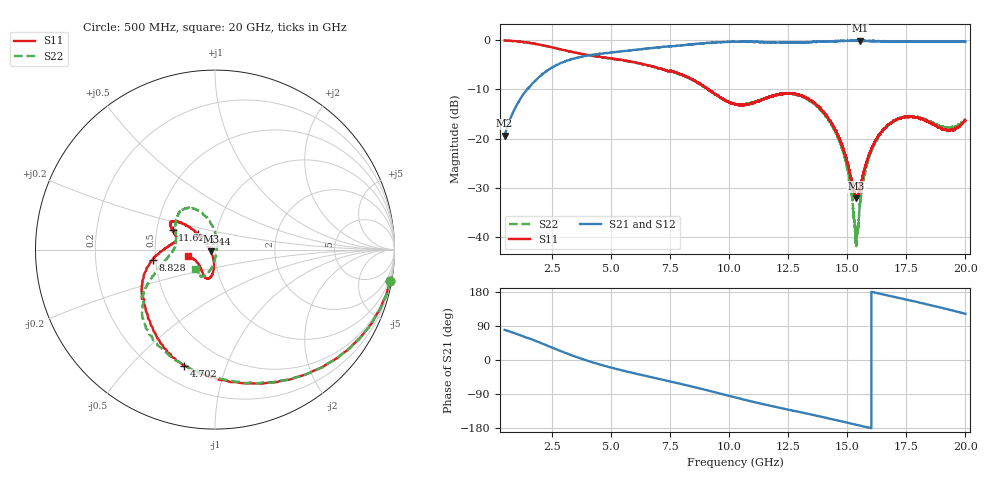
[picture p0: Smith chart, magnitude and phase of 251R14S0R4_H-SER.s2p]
! Created Tue May  5 12:29:12 2020
# mhz S ma R 50
! 2 Port Network Data from SP1.SP block
! freq  magS11  angS11  magS21  angS21  magS12  angS12  magS22  angS22
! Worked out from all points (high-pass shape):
!   19501 points, 500 MHz to 20 GHz, reference 50 ohm
!   highest |S21| = -0.11 dB at 15.55 GHz (marker M1); lowest = -19.4 dB at 500 MHz (marker M2)
!   |S21| within 3 dB of the highest: 4.039 GHz to 4.04175 GHz (2.75 MHz wide, 0.0681 % of centre); 4.043 GHz to end of sweep (the widest 2 of 3)
!   lowest |S11| = -32.1 dB at 15.38 GHz (marker M3), VSWR 1.05, Z = 47.8 - j0.933 ohm
!   |S11| at or under -10 dB: 9.123652 GHz to 9.1248 GHz (1.148 MHz wide, 0.0126 % of centre); 9.125 GHz to end of sweep
!   |S22| runs from -41.8 to -0.1 dB; largest |S21 - S12| = 0.0086
!   S11 on the Smith chart (normalised r, x): 500 MHz: 0, -11; 4.702 GHz: 0.31, -0.72; 8.828 GHz: 0.48, -0.06; 11.62 GHz: 0.61, +0.14; 14.44 GHz: 0.81, +0.14; 20 GHz: 0.74, -0.06
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500  0.9931 -10.2  0.1075 79.6  0.1073 79.5  0.9932 -10.2
1206  0.9633 -25.4  0.2636 64.3  0.2624 64.4  0.9629 -25.5
2166  0.8836 -48.2  0.465 41.6  0.465 41.5  0.8836 -48.3
3750  0.7274 -87.3  0.6787 3.3  0.6799 3.2  0.7274 -85.8
4702  0.6709 -104.8  0.7366 -15.1  0.7356 -15.1  0.6662 -105.0
5941  0.601 -120.5  0.7961 -34.6  0.7946 -34.5  0.5979 -127.8
7000  0.5193 -136.5  0.8458 -49.4  0.843 -49.5  0.5244 -141.0
8828  0.3529 -170.5  0.9286 -76.1  0.927 -76.1  0.3534 -159.4
10250  0.2245 168.3  0.9632 -98.6  0.9637 -98.6  0.2237 176.4
11621  0.2605 155.0  0.9531 -119.3  0.9541 -119.1  0.2629 146.7
12592  0.2887 147.8  0.9458 -132.1  0.9462 -132.1  0.2886 129.2
13500  0.2415 141.5  0.9584 -144.3  0.9573 -144.4  0.238 113.0
14444  0.129 138.2  0.9777 -157.5  0.9762 -157.3  0.1246 95.6
14990  0.0589 145.2  0.9841 -165.2  0.9834 -165.2  0.05196 81.1
15384  0.02491 -156.9  0.9839 -170.9  0.9836 -170.8  0.008333 -6.4
15546  0.03225 -120.7  0.9879 -173.1  0.9855 -173.2  0.02301 -72.9
15724  0.04835 -102.7  0.9829 -175.8  0.9827 -175.7  0.04188 -85.8
15976  0.07424 -95.0  0.9806 -179.4  0.9802 -179.3  0.07028 -94.4
16750  0.1405 -95.7  0.9763 169.6  0.9766 169.8  0.138 -107.2
17738  0.1687 -106.6  0.97 156.1  0.9655 156.3  0.1679 -120.3
19293  0.1197 -142.0  0.9648 133.1  0.9664 132.9  0.1292 -132.2
20000  0.1534 -165.6  0.9646 121.9  0.9609 122.0  0.1577 -136.3
